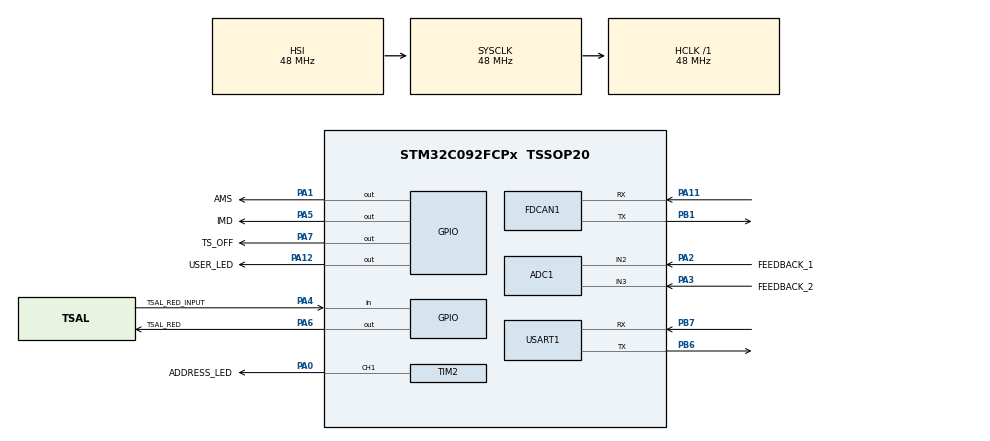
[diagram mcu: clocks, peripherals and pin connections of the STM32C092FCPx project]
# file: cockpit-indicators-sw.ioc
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ADC1.Channel-0\#ChannelRegularConversion=ADC_CHANNEL_2
ADC1.Channel-1\#ChannelRegularConversion=ADC_CHANNEL_3
ADC1.ContinuousConvMode=DISABLE
ADC1.DMAContinuousRequests=DISABLE
ADC1.EOCSelection=ADC_EOC_SEQ_CONV
ADC1.ExternalTrigConv=ADC_SOFTWARE_START
ADC1.NbrOfConversion=2
ADC1.NbrOfConversionFlag=1
ADC1.OffsetNumber-0\#ChannelRegularConversion=ADC_OFFSET_NONE
ADC1.OffsetNumber-1\#ChannelRegularConversion=ADC_OFFSET_NONE
ADC1.Rank-0\#ChannelRegularConversion=1
ADC1.Rank-1\#ChannelRegularConversion=2
ADC1.SamplingTime-0\#ChannelRegularConversion=ADC_SAMPLINGTIME_COMMON_1
ADC1.SamplingTime-1\#ChannelRegularConversion=ADC_SAMPLINGTIME_COMMON_1
ADC1.SamplingTimeCommon1=ADC_SAMPLETIME_3CYCLES_5
ADC1.SamplingTimeCommon2=ADC_SAMPLETIME_3CYCLES_5
ADC1.SelectedChannel=ADC_CHANNEL_2|ADC_CHANNEL_3
ADC1.Sequencer=FULLY_CONFIGURABLE
ADC1.master=1
Dma.ADC1.0.Direction=DMA_PERIPH_TO_MEMORY
Dma.ADC1.0.EventEnable=DISABLE
Dma.ADC1.0.Instance=DMA1_Channel1
Dma.ADC1.0.MemDataAlignment=DMA_MDATAALIGN_HALFWORD
Dma.ADC1.0.MemInc=DMA_MINC_ENABLE
Dma.ADC1.0.Mode=DMA_NORMAL
Dma.ADC1.0.PeriphDataAlignment=DMA_PDATAALIGN_HALFWORD
Dma.ADC1.0.PeriphInc=DMA_PINC_DISABLE
Dma.ADC1.0.Polarity=HAL_DMAMUX_REQ_GEN_RISING
Dma.ADC1.0.Priority=DMA_PRIORITY_LOW
Dma.ADC1.0.RequestNumber=1
Dma.ADC1.0.SignalID=NONE
Dma.ADC1.0.SyncEnable=DISABLE
Dma.ADC1.0.SyncPolarity=HAL_DMAMUX_SYNC_NO_EVENT
Dma.ADC1.0.SyncRequestNumber=1
Dma.ADC1.0.SyncSignalID=NONE
Dma.Request0=ADC1
FDCAN1.CalculateBaudRateNominal=1000000
FDCAN1.CalculateTimeBitNominal=1000
FDCAN1.CalculateTimeQuantumNominal=62.5
FDCAN1.NominalPrescaler=3
FDCAN1.NominalSyncJumpWidth=2
FDCAN1.NominalTimeSeg1=13
FDCAN1.NominalTimeSeg2=2
Mcu.Family=STM32C0
Mcu.Name=STM32C092FCPx
Mcu.Package=TSSOP20
NVIC.ADC1_IRQn=true\:0\:0\:false\:false\:true\:true\:true\:true
NVIC.DMA1_Channel1_IRQn=true\:0\:0\:false\:false\:true\:false\:true\:true
NVIC.FDCAN1_IT0_IRQn=true\:0\:0\:false\:false\:true\:true\:true\:true
NVIC.FDCAN1_IT1_IRQn=true\:0\:0\:false\:false\:true\:true\:true\:true
PA0.GPIO_Label=ADDRESS_LED
PA0.Signal=S_TIM2_CH1
PA1.GPIO_Label=AMS
PA1.Signal=GPIO_Output
PA11\ [PA9].Mode=FDCAN_Activate
PA11\ [PA9].Signal=FDCAN1_RX
PA12\ [PA10].GPIO_Label=USER_LED
PA12\ [PA10].Signal=GPIO_Output
PA13.Mode=Serial_Wire
PA13.Signal=DEBUG_SWDIO
PA14-BOOT0.Mode=Serial_Wire
PA14-BOOT0.Signal=DEBUG_SWCLK
PA14-BOOT0__PA15.StandardMode=true
PA2.GPIO_Label=FEEDBACK_1
PA2.Mode=IN2
PA2.Signal=ADC1_IN2
PA3.GPIO_Label=FEEDBACK_2
PA3.Mode=IN3
PA3.Signal=ADC1_IN3
PA4.GPIO_Label=TSAL_RED_INPUT
PA4.Signal=GPIO_Input
PA5.GPIO_Label=IMD
PA5.Signal=GPIO_Output
PA6.GPIO_Label=TSAL_RED
PA6.Signal=GPIO_Output
PA7.GPIO_Label=TS_OFF
PA7.Signal=GPIO_Output
PB0__PB1__PB2__PA8.StandardMode=true
PB1.Mode=FDCAN_Activate
PB1.Signal=FDCAN1_TX
PB3__PB4__PB5__PB6.StandardMode=true
PB6.Mode=Asynchronous
PB6.Signal=USART1_TX
PB7.Mode=Asynchronous
PB7.Signal=USART1_RX
PB7__PB8.StandardMode=true
PC14-OSCX_IN(PC14).Mode=HSE-External-Oscillator
PC14-OSCX_IN(PC14).Signal=RCC_OSCX_IN
PC15-OSCX_OUT(PC15).Mode=HSE-External-Oscillator
PC15-OSCX_OUT(PC15).Signal=RCC_OSCX_OUT
ProjectManager.HeapSize=0x200
ProjectManager.StackSize=0x400
ProjectManager.TargetToolchain=Makefile
RCC.ADCFreq_Value=48000000
RCC.AHBFreq_Value=48000000
RCC.CortexFreq_Value=48000000
RCC.EXTERNAL_CLOCK_VALUE=12288000
RCC.HCLKFreq_Value=48000000
RCC.HSE_VALUE=16000000
RCC.HSISYSCLKDivider=RCC_HSI_DIV1
RCC.HSI_VALUE=48000000
RCC.LSE_VALUE=32768
RCC.SYSCLKFreq_VALUE=48000000
SH.S_TIM2_CH1.0=TIM2_CH1,PWM Generation1 CH1
TIM2.Channel-PWM\ Generation1\ CH1=TIM_CHANNEL_1
USART1.VirtualMode-Asynchronous=VM_ASYNC
board=custom

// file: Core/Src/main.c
/* USER CODE BEGIN Header */
/**
  ******************************************************************************
  * @file           : main.c
  * @brief          : Main program body
  ******************************************************************************
  * @attention
  *
  * Copyright (c) 2025 STMicroelectronics.
  * All rights reserved.
  *
  * This software is licensed under terms that can be found in the LICENSE file
  * in the root directory of this software component.
  * If no LICENSE file comes with this software, it is provided AS-IS.
  *
  ******************************************************************************
  */
/* USER CODE END Header */
#include "main.h"
#include "adc.h"
#include "can-communications.h"
#include "dma.h"
#include "fdcan.h"
#include "tim.h"
#include "usart.h"
#include "gpio.h"

/* USER CODE BEGIN Includes */
#include "fsm.h"
#include "can-communications-api.h"
#include "can-communications-router-api.h"
#include "post.h"
#include <string.h>

/* USER CODE END Includes */

void SystemClock_Config(void);

int main(void) {

    /* MCU Configuration--------------------------------------------------------*/

    /* Reset of all peripherals, Initializes the Flash interface and the Systick. */
    HAL_Init();

    /* Configure the system clock */
    SystemClock_Config();

    /* Initialize all configured peripherals */
    MX_GPIO_Init();
    MX_DMA_Init();
    MX_FDCAN1_Init();
    MX_USART1_UART_Init();
    MX_TIM2_Init();
    MX_ADC1_Init();
    /* USER CODE BEGIN 2 */
    fsm_state_t fsm_state = FSM_STATE_INIT;

    HAL_SYSCFG_SetPinBinding(HAL_BIND_TSSOP20_PIN15_PB1); // HAZARD: DO NOT TOUCH!!!

    bool fdcan_return_code = (HAL_FDCAN_Start(&hfdcan1) == HAL_OK);

    HAL_FDCAN_ActivateNotification(&hfdcan1, FDCAN_IT_RX_FIFO0_NEW_MESSAGE, 0);
    HAL_FDCAN_ActivateNotification(&hfdcan1, FDCAN_IT_RX_FIFO1_NEW_MESSAGE, 0);

    bool adc_return_code = adc_feedback_init();

    struct PostInit init_struct = {
        .fdcan_return_code = fdcan_return_code,
        .adc_return_code = adc_return_code,
        .get_tick = HAL_GetTick,
        .config = {
            .send = fdcan_send_primary,
            .on_receive = can_communications_router_api_receive_primary,
        }
    };

    GPIO_TypeDef *pin_ports[] = {
        AMS_GPIO_Port,
        IMD_GPIO_Port,
        TS_OFF_GPIO_Port,
        TSAL_RED_GPIO_Port
    };

    uint16_t pins[INDICATORS_NAME_COUNT] = {
        AMS_Pin,
        IMD_Pin,
        TS_OFF_Pin,
        TSAL_RED_Pin
    };

    fsm_state = fsm_run_state(fsm_state, (void *)&init_struct);

    /* USER CODE END 2 */

    /* Infinite loop */
    /* USER CODE BEGIN WHILE */
    while (1) {
        fsm_state = fsm_run_state(fsm_state, NULL);

        if (fsm_state == FSM_STATE_IDLE) {
            for (enum IndicatorsName indicator = 0; indicator < INDICATORS_NAME_COUNT; indicator++) {
                HAL_GPIO_WritePin(pin_ports[indicator], pins[indicator], indicators_api_get_indicator(indicator));
            }
        }

        switch (can_communications_api_process_rx()) {
            case CAN_COMMUNICATION_RC_OK:
                break;
            case CAN_COMMUNICATION_RC_QUEUE_EMPTY:
                HAL_UART_Transmit(&huart1, (uint8_t *)"RX QUEUE EMPTY\n\r", 16, 100);
                break;
            case CAN_COMMUNICATION_RC_QUEUE_FULL:
                HAL_UART_Transmit(&huart1, (uint8_t *)"RX QUEUE FULL\n\r", 15, 100);
                break;
            default:
                HAL_UART_Transmit(&huart1, (uint8_t *)"RX QUEUE ERROR\n\r", 16, 100);
                break;
        }
        can_communications_api_process_tx();

        /* USER CODE END WHILE */

    }
}

void SystemClock_Config(void) {
    RCC_OscInitTypeDef RCC_OscInitStruct = { 0 };
    RCC_ClkInitTypeDef RCC_ClkInitStruct = { 0 };

    __HAL_FLASH_SET_LATENCY(FLASH_LATENCY_1);

    /** Initializes the RCC Oscillators according to the specified parameters
  * in the RCC_OscInitTypeDef structure.
  */
    RCC_OscInitStruct.OscillatorType = RCC_OSCILLATORTYPE_HSI;
    RCC_OscInitStruct.HSIState = RCC_HSI_ON;
    RCC_OscInitStruct.HSIDiv = RCC_HSI_DIV1;
    RCC_OscInitStruct.HSICalibrationValue = RCC_HSICALIBRATION_DEFAULT;
    if (HAL_RCC_OscConfig(&RCC_OscInitStruct) != HAL_OK) {
        Error_Handler();
    }

    /** Initializes the CPU, AHB and APB buses clocks
  */
    RCC_ClkInitStruct.ClockType = RCC_CLOCKTYPE_HCLK | RCC_CLOCKTYPE_SYSCLK | RCC_CLOCKTYPE_PCLK1;
    RCC_ClkInitStruct.SYSCLKSource = RCC_SYSCLKSOURCE_HSI;
    RCC_ClkInitStruct.SYSCLKDivider = RCC_SYSCLK_DIV1;
    RCC_ClkInitStruct.AHBCLKDivider = RCC_HCLK_DIV1;
    RCC_ClkInitStruct.APB1CLKDivider = RCC_APB1_DIV1;

    if (HAL_RCC_ClockConfig(&RCC_ClkInitStruct, FLASH_LATENCY_1) != HAL_OK) {
        Error_Handler();
    }
}

void Error_Handler(void) {
    /* USER CODE BEGIN Error_Handler_Debug */
    /* User can add his own implementation to report the HAL error return state */
    __disable_irq();
    while (1) {
        uint8_t buffer[] = "Mi sono cacato addosso\n";
        HAL_UART_Transmit(&huart1, buffer, sizeof(buffer) / sizeof(buffer[0]), 100);
    }
    /* USER CODE END Error_Handler_Debug */
}
